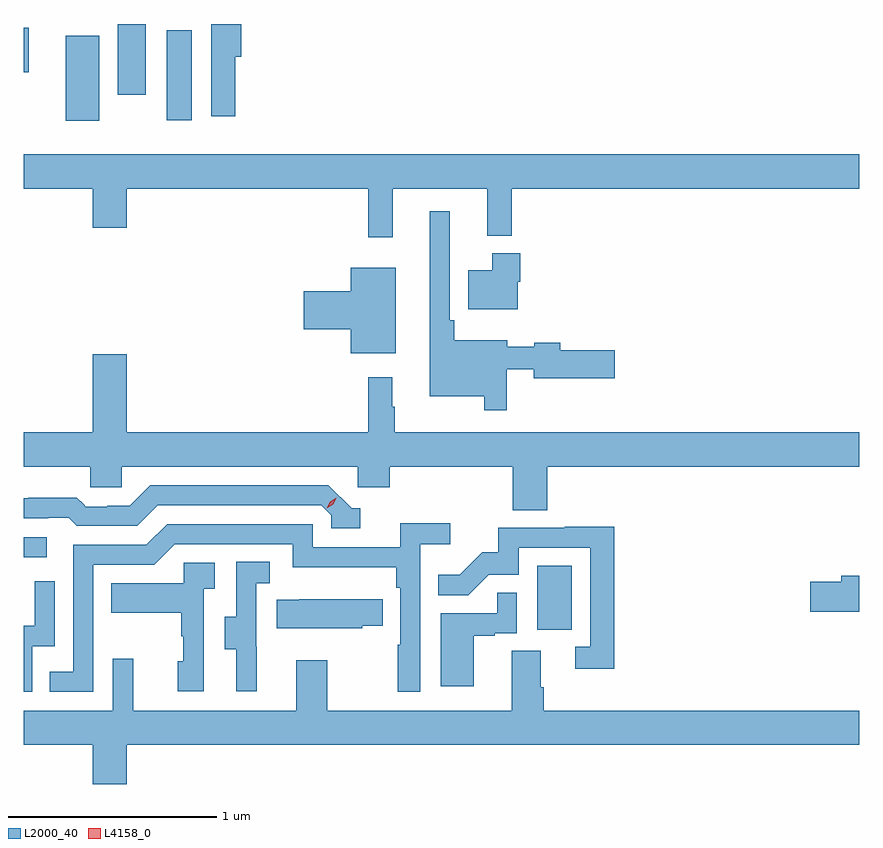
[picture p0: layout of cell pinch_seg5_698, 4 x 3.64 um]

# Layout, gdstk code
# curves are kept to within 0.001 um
import gdstk
lib = gdstk.Library(unit=1e-6, precision=1e-09)
def R(c, l, rs):  # rectangles x0, y0, x1, y1
    for r in rs: c.add(gdstk.rectangle(r[:2], r[2:], *l))
def P(c, l, *ps):  # polygons
    for p in ps: c.add(gdstk.Polygon(p, *l))
L2000_40 = (2000, 40)
L4158_0 = (4158, 0)

pinch_seg5_698 = lib.new_cell('pinch_seg5_698')
R(pinch_seg5_698, L2000_40, [(1126.178,835.998,1126.342,836.305), (1123.719,836.346,1123.828,836.442), (1123.919,838.437,1124.08,838.843), (1124.402,838.44,1124.524,838.87), (1124.168,838.56,1124.302,838.9), (1123.719,838.67,1123.741,838.882)])
P(pinch_seg5_698, L2000_40, [(1124.732,838.742),(1124.759,838.742),(1124.759,838.9),(1124.616,838.9),(1124.616,838.458),(1124.732,838.458)],
  [(1125.485,838.112),(1125.938,838.112),(1125.938,837.887),(1126.055,837.887),(1126.055,838.112),(1127.719,838.112),(1127.719,838.276),(1123.719,838.276),(1123.719,838.112),(1124.048,838.112),(1124.048,837.924),(1124.212,837.924),(1124.212,838.112),(1125.367,838.112),(1125.367,837.879),(1125.485,837.879)],
  [(1126.032,837.246),(1126.16,837.246),(1126.16,837.203),(1126.549,837.203),(1126.549,837.338),(1126.288,837.338),(1126.288,837.374),(1126.164,837.374),(1126.164,837.355),(1126.033,837.355),(1126.033,837.385),(1125.779,837.385),(1125.779,837.481),(1125.759,837.481),(1125.759,838.003),(1125.662,838.003),(1125.662,837.116),(1125.924,837.116),(1125.924,837.051),(1126.032,837.051)],
  [(1126.084,837.666),(1126.097,837.666),(1126.097,837.802),(1125.962,837.802),(1125.962,837.721),(1125.848,837.721),(1125.848,837.533),(1126.084,837.533)],
  [(1125.499,837.733),(1125.284,837.733),(1125.284,837.62),(1125.06,837.62),(1125.06,837.437),(1125.284,837.437),(1125.284,837.323),(1125.499,837.323)],
  [(1126.226,836.78),(1127.719,836.78),(1127.719,836.944),(1125.496,836.944),(1125.496,837.068),(1125.484,837.068),(1125.484,837.208),(1125.367,837.208),(1125.367,836.944),(1124.212,836.944),(1124.212,837.319),(1124.048,837.319),(1124.048,836.944),(1123.719,836.944),(1123.719,836.78),(1124.037,836.78),(1124.037,836.682),(1124.187,836.682),(1124.187,836.78),(1125.318,836.78),(1125.318,836.682),(1125.47,836.682),(1125.47,836.78),(1126.061,836.78),(1126.061,836.572),(1126.226,836.572)],
  [(1125.331,836.58),(1125.288,836.58),(1125.177,836.691),(1124.324,836.691),(1124.225,836.592),(1124.118,836.592),(1124.118,836.589),(1124.015,836.589),(1123.973,836.632),(1123.74,836.632),(1123.74,836.629),(1123.719,836.629),(1123.719,836.532),(1123.835,836.532),(1123.835,836.535),(1123.934,836.535),(1123.973,836.496),(1124.262,836.496),(1124.361,836.595),(1125.144,836.595),(1125.192,836.547),(1125.192,836.484),(1125.331,836.484)],
  [(1124.052,836.31),(1124.343,836.31),(1124.442,836.409),(1125.006,836.409),(1125.006,836.297),(1125.502,836.297),(1125.502,836.201),(1125.522,836.201),(1125.522,835.928),(1125.51,835.928),(1125.51,835.701),(1125.618,835.701),(1125.618,836.408),(1125.76,836.408),(1125.76,836.51),(1125.521,836.51),(1125.521,836.394),(1125.102,836.394),(1125.102,836.505),(1124.405,836.505),(1124.306,836.406),(1123.956,836.406),(1123.956,835.797),(1123.843,835.797),(1123.843,835.701),(1124.052,835.701)],
  [(1126.547,836.492),(1126.309,836.492),(1126.309,836.487),(1125.991,836.487),(1125.991,836.37),(1125.914,836.37),(1125.807,836.263),(1125.703,836.263),(1125.703,836.164),(1125.847,836.164),(1125.945,836.262),(1126.089,836.262),(1126.089,836.391),(1126.431,836.391),(1126.431,835.917),(1126.359,835.917),(1126.359,835.812),(1126.547,835.812)],
  [(1124.834,835.917),(1124.832,835.917),(1124.832,836.221),(1124.896,836.221),(1124.896,836.324),(1124.736,836.324),(1124.736,836.061),(1124.681,836.061),(1124.681,835.906),(1124.735,835.906),(1124.735,835.704),(1124.834,835.704)],
  [(1124.58,836.195),(1124.632,836.195),(1124.632,836.319),(1124.484,836.319),(1124.484,836.221),(1124.137,836.221),(1124.137,836.081),(1124.472,836.081),(1124.472,835.967),(1124.482,835.967),(1124.482,835.848),(1124.456,835.848),(1124.456,835.704),(1124.58,835.704)],
  [(1127.719,836.258),(1127.633,836.258),(1127.633,836.228),(1127.484,836.228),(1127.484,836.086),(1127.719,836.086)],
  [(1123.758,835.92),(1123.866,835.92),(1123.866,836.23),(1123.77,836.23),(1123.77,836.018),(1123.719,836.018),(1123.719,835.701),(1123.758,835.701)],
  [(1125.874,835.971),(1125.974,835.971),(1125.974,835.983),(1126.08,835.983),(1126.08,836.177),(1125.985,836.177),(1125.985,836.079),(1125.716,836.079),(1125.716,835.728),(1125.874,835.728)],
  [(1125.339,836.017),(1125.437,836.017),(1125.437,836.146),(1125.037,836.146),(1125.037,836.143),(1124.929,836.143),(1124.929,836.006),(1125.339,836.006)],
  [(1124.212,835.448),(1127.719,835.448),(1127.719,835.612),(1126.208,835.612),(1126.208,835.724),(1126.195,835.724),(1126.195,835.898),(1126.055,835.898),(1126.055,835.612),(1125.171,835.612),(1125.171,835.852),(1125.023,835.852),(1125.023,835.612),(1124.243,835.612),(1124.243,835.861),(1124.145,835.861),(1124.145,835.612),(1123.719,835.612),(1123.719,835.448),(1124.048,835.448),(1124.048,835.26),(1124.212,835.26)])
P(pinch_seg5_698, L4158_0, [(1125.169,836.58),(1125.169,836.58),(1125.186,836.612),(1125.216,836.632),(1125.216,836.632),(1125.216,836.631),(1125.2,836.599),(1125.17,836.58)])

lib.write_gds('pinch_seg5_698.gds')
